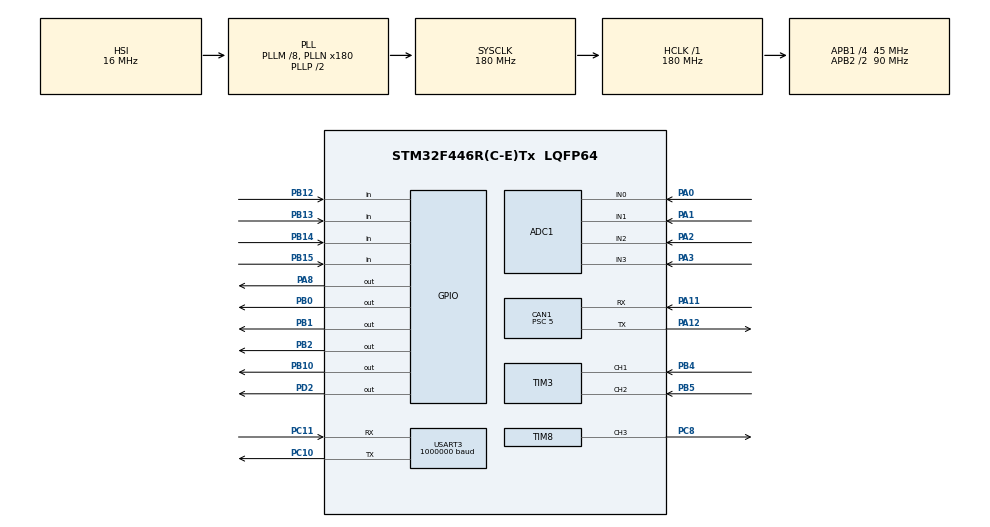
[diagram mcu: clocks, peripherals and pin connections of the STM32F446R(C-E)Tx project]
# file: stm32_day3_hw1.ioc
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ADC1.Channel-1\#ChannelRegularConversion=ADC_CHANNEL_1
ADC1.Channel-2\#ChannelRegularConversion=ADC_CHANNEL_3
ADC1.Channel-3\#ChannelRegularConversion=ADC_CHANNEL_3
ADC1.ClockPrescaler=ADC_CLOCK_SYNC_PCLK_DIV4
ADC1.DMAContinuousRequests=ENABLE
ADC1.ExternalTrigConv=ADC_EXTERNALTRIGCONV_T8_TRGO
ADC1.NbrOfConversion=4
ADC1.NbrOfConversionFlag=1
ADC1.Rank-1\#ChannelRegularConversion=2
ADC1.Rank-2\#ChannelRegularConversion=3
ADC1.Rank-3\#ChannelRegularConversion=4
ADC1.SamplingTime-0\#ChannelRegularConversion=ADC_SAMPLETIME_15CYCLES
ADC1.SamplingTime-1\#ChannelRegularConversion=ADC_SAMPLETIME_15CYCLES
ADC1.SamplingTime-2\#ChannelRegularConversion=ADC_SAMPLETIME_15CYCLES
ADC1.SamplingTime-3\#ChannelRegularConversion=ADC_SAMPLETIME_15CYCLES
ADC1.ScanConvMode=ENABLE
ADC1.master=1
CAN1.BS1=CAN_BS1_6TQ
CAN1.BS2=CAN_BS2_2TQ
CAN1.CalculateBaudRate=1000000
CAN1.CalculateTimeBit=1000
CAN1.CalculateTimeQuantum=111.11111111111111
CAN1.Prescaler=5
Dma.ADC1.0.Direction=DMA_PERIPH_TO_MEMORY
Dma.ADC1.0.FIFOMode=DMA_FIFOMODE_DISABLE
Dma.ADC1.0.Instance=DMA2_Stream0
Dma.ADC1.0.MemDataAlignment=DMA_MDATAALIGN_WORD
Dma.ADC1.0.MemInc=DMA_MINC_ENABLE
Dma.ADC1.0.Mode=DMA_CIRCULAR
Dma.ADC1.0.PeriphDataAlignment=DMA_PDATAALIGN_WORD
Dma.ADC1.0.PeriphInc=DMA_PINC_DISABLE
Dma.ADC1.0.Priority=DMA_PRIORITY_LOW
Dma.Request0=ADC1
Dma.Request1=USART3_RX
Dma.USART3_RX.1.Direction=DMA_PERIPH_TO_MEMORY
Dma.USART3_RX.1.FIFOMode=DMA_FIFOMODE_DISABLE
Dma.USART3_RX.1.Instance=DMA1_Stream1
Dma.USART3_RX.1.MemDataAlignment=DMA_MDATAALIGN_BYTE
Dma.USART3_RX.1.MemInc=DMA_MINC_ENABLE
Dma.USART3_RX.1.Mode=DMA_CIRCULAR
Dma.USART3_RX.1.PeriphDataAlignment=DMA_PDATAALIGN_BYTE
Dma.USART3_RX.1.PeriphInc=DMA_PINC_DISABLE
Dma.USART3_RX.1.Priority=DMA_PRIORITY_LOW
Mcu.Family=STM32F4
Mcu.Name=STM32F446R(C-E)Tx
Mcu.Package=LQFP64
NVIC.ADC_IRQn=true\:0\:0\:false\:false\:true\:true\:true\:true
NVIC.DMA1_Stream1_IRQn=true\:0\:0\:false\:false\:true\:false\:true\:true
NVIC.DMA2_Stream0_IRQn=true\:0\:0\:false\:false\:true\:false\:true\:true
NVIC.PriorityGroup=NVIC_PRIORITYGROUP_4
NVIC.TIM6_DAC_IRQn=true\:0\:0\:false\:false\:true\:true\:true\:true
NVIC.TIM8_BRK_TIM12_IRQn=true\:0\:0\:false\:false\:true\:true\:true\:true
NVIC.TIM8_CC_IRQn=true\:0\:0\:false\:false\:true\:true\:true\:true
NVIC.TIM8_TRG_COM_TIM14_IRQn=true\:0\:0\:false\:false\:true\:true\:true\:true
NVIC.TIM8_UP_TIM13_IRQn=true\:0\:0\:false\:false\:true\:true\:true\:true
NVIC.USART3_IRQn=true\:0\:0\:false\:false\:true\:true\:true\:true
PA0-WKUP.Signal=ADCx_IN0
PA1.Signal=ADCx_IN1
PA11.Mode=CAN_Activate
PA11.Signal=CAN1_RX
PA12.Mode=CAN_Activate
PA12.Signal=CAN1_TX
PA13.Mode=Serial_Wire
PA13.Signal=SYS_JTMS-SWDIO
PA14.Mode=Serial_Wire
PA14.Signal=SYS_JTCK-SWCLK
PA2.Signal=ADCx_IN2
PA3.Signal=ADCx_IN3
PA8.Signal=GPIO_Output
PB0.Signal=GPIO_Output
PB1.Signal=GPIO_Output
PB10.Signal=GPIO_Output
PB12.Signal=GPIO_Input
PB13.Signal=GPIO_Input
PB14.Signal=GPIO_Input
PB15.Signal=GPIO_Input
PB2.Signal=GPIO_Output
PB4.GPIO_PuPd=GPIO_PULLUP
PB4.Signal=S_TIM3_CH1
PB5.GPIO_PuPd=GPIO_PULLUP
PB5.Signal=S_TIM3_CH2
PC10.Mode=Asynchronous
PC10.Signal=USART3_TX
PC11.Mode=Asynchronous
PC11.Signal=USART3_RX
PC8.Signal=S_TIM8_CH3
PD2.Signal=GPIO_Output
PH0-OSC_IN.Mode=HSE-External-Oscillator
PH0-OSC_IN.Signal=RCC_OSC_IN
PH1-OSC_OUT.Mode=HSE-External-Oscillator
PH1-OSC_OUT.Signal=RCC_OSC_OUT
ProjectManager.HeapSize=0x200
ProjectManager.StackSize=0x400
ProjectManager.TargetToolchain=STM32CubeIDE
RCC.AHBFreq_Value=180000000
RCC.APB1CLKDivider=RCC_HCLK_DIV4
RCC.APB1Freq_Value=45000000
RCC.APB1TimFreq_Value=90000000
RCC.APB2CLKDivider=RCC_HCLK_DIV2
RCC.APB2Freq_Value=90000000
RCC.APB2TimFreq_Value=180000000
RCC.CortexFreq_Value=180000000
RCC.HCLKFreq_Value=180000000
RCC.HSE_VALUE=25000000
RCC.PLLM=8
RCC.PLLN=180
RCC.SYSCLKFreq_VALUE=180000000
RCC.SYSCLKSource=RCC_SYSCLKSOURCE_PLLCLK
RCC.USBFreq_Value=180000000
RCC.VCOOutputFreq_Value=360000000
SH.ADCx_IN0.0=ADC1_IN0,IN0
SH.ADCx_IN1.0=ADC1_IN1,IN1
SH.ADCx_IN2.0=ADC1_IN2,IN2
SH.ADCx_IN3.0=ADC1_IN3,IN3
SH.S_TIM3_CH1.0=TIM3_CH1,Encoder_Interface
SH.S_TIM3_CH2.0=TIM3_CH2,Encoder_Interface
SH.S_TIM8_CH3.0=TIM8_CH3,PWM Generation3 CH3
TIM3.EncoderMode=TIM_ENCODERMODE_TI12
TIM3.IC1Filter=5
TIM3.IC2Filter=5
TIM6.Period=100-1
TIM6.Prescaler=90-1
TIM8.Channel-PWM\ Generation3\ CH3=TIM_CHANNEL_3
TIM8.Period=1000-1
TIM8.Prescaler=9-1
USART3.BaudRate=1000000
USART3.VirtualMode=VM_ASYNC
VP_TIM6_VS_ClockSourceINT.Mode=Enable_Timer
board=custom

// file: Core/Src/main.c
/* USER CODE BEGIN Header */
/**
 ******************************************************************************
 * @file           : main.c
 * @brief          : Main program body
 ******************************************************************************
 * @attention
 *
 * Copyright (c) 2026 STMicroelectronics.
 * All rights reserved.
 *
 * This software is licensed under terms that can be found in the LICENSE file
 * in the root directory of this software component.
 * If no LICENSE file comes with this software, it is provided AS-IS.
 *
 ******************************************************************************
 */
/* USER CODE END Header */
#include "main.h"
#include "adc.h"
#include "can.h"
#include "dma.h"
#include "tim.h"
#include "usart.h"
#include "gpio.h"

/* USER CODE BEGIN Includes */
#include <string.h>   // memcpy
/* USER CODE END Includes */

/* USER CODE BEGIN PD */
#define RX_BUFFER_SIZE 256

/* ---- Robstride00 (private protocol, 29bit extended ID, 1Mbps) ---- */
#define RS_MOTOR_ID     14      // 강의 자료의 ID (스캔 실패 시 사용)
#define RS_MASTER_ID    0xFD    // 호스트(STM32) ID

/* 통신 타입 (29bit ID의 bit28~24) */
#define RS_TYPE_GET_ID    0     // 장치 ID 요청 (ID 스캔용)
#define RS_TYPE_FEEDBACK  2     // 모터 -> 호스트 상태 피드백
#define RS_TYPE_ENABLE    3     // 모터 Enable
#define RS_TYPE_STOP      4     // 모터 Stop
#define RS_TYPE_PARAM_WR  0x12  // 단일 파라미터 쓰기 (18)

/* 파라미터 인덱스 */
#define RS_IDX_RUN_MODE   0x7005  // uint8 : 2 = 속도 모드
#define RS_IDX_SPD_REF    0x700A  // float : 목표 속도 [rad/s] (-33~33)
#define RS_IDX_LIMIT_CUR  0x7018  // float : 전류 제한 [A] (0~16)
#define RS_IDX_ACC_RAD    0x7022  // float : 속도 모드 가속도 [rad/s^2]

/* 과제 조건: 24V, 속도는 데이터시트 값의 절반 미만
 * 무부하 315rpm(48V) ≈ 33 rad/s -> 절반 16.5, 24V 기준 절반 ≈ 8 -> 5 rad/s 사용 */
#define SPD_MAX     5.0f    // motor_cmd = ±1 일 때 속도 [rad/s]
#define LIMIT_CUR   3.0f    // 전류 제한 [A]
#define ACC_RAD     10.0f   // 가속도 [rad/s^2]
/* USER CODE END PD */

/* USER CODE BEGIN PV */
uint8_t PCrxBuffer[RX_BUFFER_SIZE];

volatile double motor_cmd = 0.0;   // -1.0 ~ 1.0 (일시정지 후 Expressions에서 입력)
volatile float  spd_target = 0.0f; // 보내는 목표 속도 [rad/s]

/* ---- 진단용 (Live Expressions) ---- */
volatile uint8_t  rs_id    = RS_MOTOR_ID; // 실제 사용 중인 모터 ID
volatile uint8_t  id_found = 0;           // 1: 스캔으로 모터를 찾음, 0: 못 찾음(14 사용)
volatile uint32_t tx_ok    = 0;           // 송신 요청 성공 횟수
volatile uint32_t tx_fail  = 0;           // 송신 실패 횟수 (메일박스 꽉 참 등)
volatile uint32_t rx_any   = 0;           // 받은 CAN 메시지 수 (종류 무관)
volatile uint32_t last_rx_id = 0;         // 마지막으로 받은 메시지의 29bit ID
volatile uint32_t can_esr  = 0;           // CAN 에러 레지스터 (끝자리 3x = ACK 에러)

/* ---- 모터 피드백 ---- */
volatile float    fb_speed = 0.0f;  // 현재 속도 [rad/s]
volatile uint8_t  fb_mode  = 0;     // 0: Reset, 1: Cali, 2: Run
volatile uint8_t  fb_fault = 0;     // 0이면 정상
volatile uint32_t fb_count = 0;     // 받은 피드백 개수 (계속 늘어나야 정상)
/* USER CODE END PV */

void SystemClock_Config(void);
/* USER CODE BEGIN PFP */
static void rs_send(uint8_t type, uint8_t data[8]);
static void rs_scan(void);
static void rs_enable(void);
static void rs_stop(void);
static void rs_write_u8(uint16_t index, uint8_t value);
static void rs_write_float(uint16_t index, float value);
static void rs_read_feedback(void);
/* USER CODE END PFP */

/* USER CODE BEGIN 0 */

/* 29bit ID = [통신타입(bit28~24)] [호스트ID(bit15~8)] [모터ID(bit7~0)] */
static void rs_send(uint8_t type, uint8_t data[8])
{
	CAN_TxHeaderTypeDef tx = {0};
	uint32_t mailbox;

	tx.ExtId = ((uint32_t)type << 24) | ((uint32_t)RS_MASTER_ID << 8) | rs_id;
	tx.IDE   = CAN_ID_EXT;
	tx.RTR   = CAN_RTR_DATA;
	tx.DLC   = 8;
	tx.TransmitGlobalTime = DISABLE;

	uint32_t t0 = HAL_GetTick();
	while (HAL_CAN_GetTxMailboxesFreeLevel(&hcan1) == 0)
	{
		if (HAL_GetTick() - t0 > 10) { tx_fail++; return; }
	}
	if (HAL_CAN_AddTxMessage(&hcan1, &tx, data, &mailbox) == HAL_OK) tx_ok++;
	else tx_fail++;
}

/* 통신 타입 0을 ID 14, 127, 1~126 순서로 보내고 응답한 모터 ID를 찾음
 * 응답: 타입 0, bit15~8 = 모터 CAN ID */
static void rs_scan(void)
{
	uint8_t zero[8] = {0};
	CAN_RxHeaderTypeDef rx;
	uint8_t d[8];

	for (uint16_t n = 0; n < 128; n++)
	{
		uint8_t id;
		if      (n == 0) id = RS_MOTOR_ID;   // 14 먼저
		else if (n == 1) id = 127;           // 공장 기본값
		else             id = (uint8_t)(n - 1);  // 1 ~ 126
		if (n >= 2 && id == RS_MOTOR_ID) continue;

		rs_id = id;
		rs_send(RS_TYPE_GET_ID, zero);
		HAL_Delay(5);

		while (HAL_CAN_GetRxFifoFillLevel(&hcan1, CAN_RX_FIFO0) > 0)
		{
			if (HAL_CAN_GetRxMessage(&hcan1, CAN_RX_FIFO0, &rx, d) != HAL_OK) break;
			rx_any++;
			last_rx_id = rx.ExtId;
			if (rx.IDE == CAN_ID_EXT && ((rx.ExtId >> 24) & 0x1F) == RS_TYPE_GET_ID)
			{
				rs_id = (rx.ExtId >> 8) & 0xFF;
				id_found = 1;
				return;
			}
		}
	}
	rs_id = RS_MOTOR_ID;   // 못 찾으면 14
}

// 통신 타입 3: 모터 Enable
static void rs_enable(void)
{
	uint8_t d[8] = {0};
	rs_send(RS_TYPE_ENABLE, d);
}

// 통신 타입 4: 모터 Stop
static void rs_stop(void)
{
	uint8_t d[8] = {0};
	rs_send(RS_TYPE_STOP, d);
}

// 통신 타입 18: Byte0~1 = index(low byte 먼저), Byte4 = 값(uint8)
static void rs_write_u8(uint16_t index, uint8_t value)
{
	uint8_t d[8] = {0};
	d[0] = index & 0xFF;
	d[1] = index >> 8;
	d[4] = value;
	rs_send(RS_TYPE_PARAM_WR, d);
}

// 통신 타입 18: Byte0~1 = index, Byte4~7 = float(low byte 먼저)
static void rs_write_float(uint16_t index, float value)
{
	uint8_t d[8] = {0};
	d[0] = index & 0xFF;
	d[1] = index >> 8;
	memcpy(&d[4], &value, 4);
	rs_send(RS_TYPE_PARAM_WR, d);
}

// 수신 처리: 타입 2 피드백이면 상태 갱신
static void rs_read_feedback(void)
{
	CAN_RxHeaderTypeDef rx;
	uint8_t d[8];

	while (HAL_CAN_GetRxFifoFillLevel(&hcan1, CAN_RX_FIFO0) > 0)
	{
		if (HAL_CAN_GetRxMessage(&hcan1, CAN_RX_FIFO0, &rx, d) != HAL_OK) break;
		rx_any++;
		last_rx_id = rx.ExtId;
		if (rx.IDE != CAN_ID_EXT) continue;

		if (((rx.ExtId >> 24) & 0x1F) != RS_TYPE_FEEDBACK) continue;

		fb_fault = (rx.ExtId >> 16) & 0x3F;
		fb_mode  = (rx.ExtId >> 22) & 0x03;

		uint16_t raw = ((uint16_t)d[2] << 8) | d[3];   // high byte 먼저
		fb_speed = (float)raw * 66.0f / 65535.0f - 33.0f;
		fb_count++;
	}
}
/* USER CODE END 0 */

int main(void)
{

  /* MCU Configuration--------------------------------------------------------*/

  /* Reset of all peripherals, Initializes the Flash interface and the Systick. */
  HAL_Init();

  /* Configure the system clock */
  SystemClock_Config();

  /* Initialize all configured peripherals */
  MX_GPIO_Init();
  MX_DMA_Init();
  MX_ADC1_Init();
  MX_TIM8_Init();
  MX_TIM6_Init();
  MX_USART3_UART_Init();
  MX_CAN1_Init();
  MX_TIM3_Init();
  /* USER CODE BEGIN 2 */

	/* CAN1을 1Mbps로 재설정 (CubeMX 값과 상관없이)
	 * APB1 45MHz / 5 / (1 + 6 + 2) = 1Mbps */
	HAL_CAN_DeInit(&hcan1);
	hcan1.Init.Prescaler     = 5;
	hcan1.Init.SyncJumpWidth = CAN_SJW_1TQ;
	hcan1.Init.TimeSeg1      = CAN_BS1_6TQ;
	hcan1.Init.TimeSeg2      = CAN_BS2_2TQ;
	HAL_CAN_Init(&hcan1);

	/* CAN 필터: 모든 메시지 수신 -> FIFO0 */
	CAN_FilterTypeDef filter = {0};
	filter.FilterBank           = 0;
	filter.FilterMode           = CAN_FILTERMODE_IDMASK;
	filter.FilterScale          = CAN_FILTERSCALE_32BIT;
	filter.FilterFIFOAssignment = CAN_RX_FIFO0;
	filter.FilterActivation     = ENABLE;
	filter.SlaveStartFilterBank = 14;
	HAL_CAN_ConfigFilter(&hcan1, &filter);

	HAL_CAN_Start(&hcan1);

	HAL_Delay(500);   // 모터 전원 대기

	rs_scan();        // 모터 ID 찾기 (결과: rs_id, id_found)

	/* 속도 모드 시작 순서 (매뉴얼 4.3.3)
	 * run_mode=2 -> Enable -> limit_cur -> acc_rad -> spd_ref */
	rs_stop();
	HAL_Delay(20);
	rs_write_u8(RS_IDX_RUN_MODE, 2);
	HAL_Delay(20);
	rs_enable();
	HAL_Delay(20);
	rs_write_float(RS_IDX_LIMIT_CUR, LIMIT_CUR);
	HAL_Delay(20);
	rs_write_float(RS_IDX_ACC_RAD, ACC_RAD);
	HAL_Delay(20);
	rs_write_float(RS_IDX_SPD_REF, 0.0f);

  /* USER CODE END 2 */

  /* Infinite loop */
  /* USER CODE BEGIN WHILE */
	while (1)
	{
		double cmd = motor_cmd;

		// 범위 제한 (-1 ~ 1)
		if (cmd > 1.0)
		{
			cmd = 1.0;
		}
		if (cmd < -1.0)
		{
			cmd = -1.0;
		}

		// 부호 = 방향, 크기 = 속도
		spd_target = (float)(cmd * SPD_MAX);

		// 20ms마다 속도 명령 전송 (응답 피드백이 계속 와서 fb_count가 늘어남)
		rs_write_float(RS_IDX_SPD_REF, spd_target);

		rs_read_feedback();
		can_esr = CAN1->ESR;   // CAN 에러 상태

		HAL_Delay(20);

    /* USER CODE END WHILE */

	}
}

void SystemClock_Config(void)
{
  RCC_OscInitTypeDef RCC_OscInitStruct = {0};
  RCC_ClkInitTypeDef RCC_ClkInitStruct = {0};

  /** Configure the main internal regulator output voltage
  */
  __HAL_RCC_PWR_CLK_ENABLE();
  __HAL_PWR_VOLTAGESCALING_CONFIG(PWR_REGULATOR_VOLTAGE_SCALE1);

  /** Initializes the RCC Oscillators according to the specified parameters
  * in the RCC_OscInitTypeDef structure.
  */
  RCC_OscInitStruct.OscillatorType = RCC_OSCILLATORTYPE_HSI;
  RCC_OscInitStruct.HSIState = RCC_HSI_ON;
  RCC_OscInitStruct.HSICalibrationValue = RCC_HSICALIBRATION_DEFAULT;
  RCC_OscInitStruct.PLL.PLLState = RCC_PLL_ON;
  RCC_OscInitStruct.PLL.PLLSource = RCC_PLLSOURCE_HSI;
  RCC_OscInitStruct.PLL.PLLM = 8;
  RCC_OscInitStruct.PLL.PLLN = 180;
  RCC_OscInitStruct.PLL.PLLP = RCC_PLLP_DIV2;
  RCC_OscInitStruct.PLL.PLLQ = 2;
  RCC_OscInitStruct.PLL.PLLR = 2;
  if (HAL_RCC_OscConfig(&RCC_OscInitStruct) != HAL_OK)
  {
    Error_Handler();
  }

  /** Activate the Over-Drive mode
  */
  if (HAL_PWREx_EnableOverDrive() != HAL_OK)
  {
    Error_Handler();
  }

  /** Initializes the CPU, AHB and APB buses clocks
  */
  RCC_ClkInitStruct.ClockType = RCC_CLOCKTYPE_HCLK|RCC_CLOCKTYPE_SYSCLK
                              |RCC_CLOCKTYPE_PCLK1|RCC_CLOCKTYPE_PCLK2;
  RCC_ClkInitStruct.SYSCLKSource = RCC_SYSCLKSOURCE_PLLCLK;
  RCC_ClkInitStruct.AHBCLKDivider = RCC_SYSCLK_DIV1;
  RCC_ClkInitStruct.APB1CLKDivider = RCC_HCLK_DIV4;
  RCC_ClkInitStruct.APB2CLKDivider = RCC_HCLK_DIV2;

  if (HAL_RCC_ClockConfig(&RCC_ClkInitStruct, FLASH_LATENCY_5) != HAL_OK)
  {
    Error_Handler();
  }
}

void Error_Handler(void)
{
	__disable_irq();
	while (1) {
	}
}
